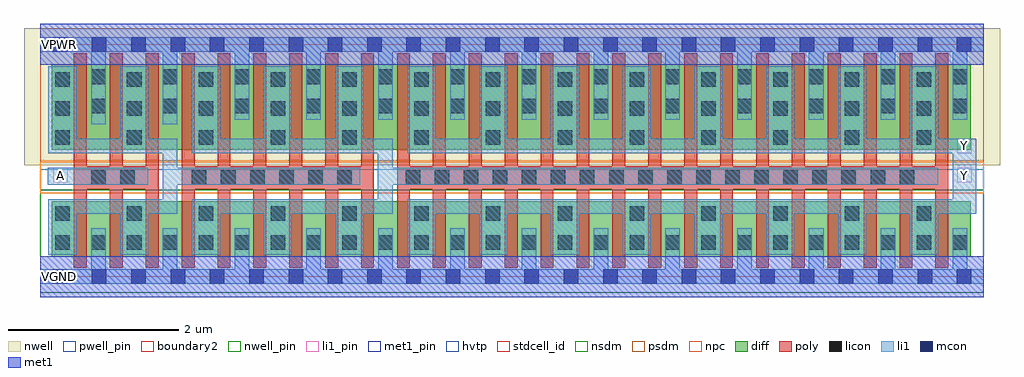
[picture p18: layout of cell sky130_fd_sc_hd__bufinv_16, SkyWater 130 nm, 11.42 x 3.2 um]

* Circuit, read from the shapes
.subckt sky130_fd_sc_hd__bufinv_16 A VGND VNB VPB VPWR Y
XM1 VGND A n1 VNB sky130_fd_pr__nfet_01v8 w=0.65 l=0.15 m=3
XM2 n2 n1 VGND VNB sky130_fd_pr__nfet_01v8 w=0.65 l=0.15 m=6
XM3 Y n2 VGND VNB sky130_fd_pr__nfet_01v8 w=0.65 l=0.15 m=16
XM4 VPWR A n1 VPB sky130_fd_pr__pfet_01v8_hvt w=1 l=0.15 m=3
XM5 n2 n1 VPWR VPB sky130_fd_pr__pfet_01v8_hvt w=1 l=0.15 m=6
XM6 Y n2 VPWR VPB sky130_fd_pr__pfet_01v8_hvt w=1 l=0.15 m=16
.ends

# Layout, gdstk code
import gdstk
lib = gdstk.Library(unit=1e-6, precision=1e-09)
def R(c, l, rs):  # rectangles x0, y0, x1, y1
    for r in rs: c.add(gdstk.rectangle(r[:2], r[2:], *l))
def A(c, l, x, y, w, h, nx, ny, dx, dy):  # array of equal rectangles
    R(c, l, [(x+i*dx, y+j*dy, x+i*dx+w, y+j*dy+h) for i in range(nx) for j in range(ny)])
def P(c, l, *ps):  # polygons
    for p in ps: c.add(gdstk.Polygon(p, *l))
nwell_pin = (64, 16)
nwell = (64, 20)
diff = (65, 20)
poly = (66, 20)
licon = (66, 44)
li1_pin = (67, 16)
li1 = (67, 20)
mcon = (67, 44)
met1_pin = (68, 16)
met1 = (68, 20)
hvtp = (78, 44)
stdcell_id = (81, 4)
nsdm = (93, 44)
psdm = (94, 20)
npc = (95, 20)
pwell_pin = (122, 16)
boundary2 = (236, 0)

sky130_fd_sc_hd__bufinv_ = lib.new_cell('sky130_fd_sc_hd__bufinv_16')
R(sky130_fd_sc_hd__bufinv_, nwell_pin, [(0.15,2.635,0.32,2.805)])
R(sky130_fd_sc_hd__bufinv_, nwell, [(-0.19,1.305,11.23,2.91)])
R(sky130_fd_sc_hd__bufinv_, diff, [(0.135,0.235,10.885,0.885), (0.135,1.485,10.885,2.485)])
P(sky130_fd_sc_hd__bufinv_, poly, [(0.395,0.105),(0.395,2.615),(0.545,2.615),(0.545,1.295),(0.815,1.295),(0.815,2.615),(0.965,2.615),(0.965,1.295),(1.235,1.295),(1.235,2.615),(1.385,2.615),(1.385,0.105),(1.235,0.105),(1.235,1.025),(0.965,1.025),(0.965,0.105),(0.815,0.105),(0.815,1.025),(0.545,1.025),(0.545,0.105)],
  [(1.655,0.105),(1.655,2.615),(1.805,2.615),(1.805,1.295),(2.075,1.295),(2.075,2.615),(2.225,2.615),(2.225,1.295),(2.495,1.295),(2.495,2.615),(2.645,2.615),(2.645,1.295),(2.915,1.295),(2.915,2.615),(3.065,2.615),(3.065,1.295),(3.335,1.295),(3.335,2.615),(3.485,2.615),(3.485,1.295),(3.755,1.295),(3.755,2.615),(3.905,2.615),(3.905,0.105),(3.755,0.105),(3.755,1.025),(3.485,1.025),(3.485,0.105),(3.335,0.105),(3.335,1.025),(3.065,1.025),(3.065,0.105),(2.915,0.105),(2.915,1.025),(2.645,1.025),(2.645,0.105),(2.495,0.105),(2.495,1.025),(2.225,1.025),(2.225,0.105),(2.075,0.105),(2.075,1.025),(1.805,1.025),(1.805,0.105)],
  [(4.175,0.105),(4.175,2.615),(4.325,2.615),(4.325,1.295),(4.595,1.295),(4.595,2.615),(4.745,2.615),(4.745,1.295),(5.015,1.295),(5.015,2.615),(5.165,2.615),(5.165,1.295),(5.435,1.295),(5.435,2.615),(5.585,2.615),(5.585,1.295),(5.855,1.295),(5.855,2.615),(6.005,2.615),(6.005,1.295),(6.275,1.295),(6.275,2.615),(6.425,2.615),(6.425,1.295),(6.695,1.295),(6.695,2.615),(6.845,2.615),(6.845,1.295),(7.115,1.295),(7.115,2.615),(7.265,2.615),(7.265,1.295),(7.535,1.295),(7.535,2.615),(7.685,2.615),(7.685,1.295),(7.955,1.295),(7.955,2.615),(8.105,2.615),(8.105,1.295),(8.375,1.295),(8.375,2.615),(8.525,2.615),(8.525,1.295),(8.795,1.295),(8.795,2.615),(8.945,2.615),(8.945,1.295),(9.215,1.295),(9.215,2.615),(9.365,2.615),(9.365,1.295),(9.635,1.295),(9.635,2.615),(9.785,2.615),(9.785,1.295),(10.055,1.295),(10.055,2.615),(10.205,2.615),(10.205,1.295),(10.475,1.295),(10.475,2.615),(10.625,2.615),(10.625,0.105),(10.475,0.105),(10.475,1.025),(10.205,1.025),(10.205,0.105),(10.055,0.105),(10.055,1.025),(9.785,1.025),(9.785,0.105),(9.635,0.105),(9.635,1.025),(9.365,1.025),(9.365,0.105),(9.215,0.105),(9.215,1.025),(8.945,1.025),(8.945,0.105),(8.795,0.105),(8.795,1.025),(8.525,1.025),(8.525,0.105),(8.375,0.105),(8.375,1.025),(8.105,1.025),(8.105,0.105),(7.955,0.105),(7.955,1.025),(7.685,1.025),(7.685,0.105),(7.535,0.105),(7.535,1.025),(7.265,1.025),(7.265,0.105),(7.115,0.105),(7.115,1.025),(6.845,1.025),(6.845,0.105),(6.695,0.105),(6.695,1.025),(6.425,1.025),(6.425,0.105),(6.275,0.105),(6.275,1.025),(6.005,1.025),(6.005,0.105),(5.855,0.105),(5.855,1.025),(5.585,1.025),(5.585,0.105),(5.435,0.105),(5.435,1.025),(5.165,1.025),(5.165,0.105),(5.015,0.105),(5.015,1.025),(4.745,1.025),(4.745,0.105),(4.595,0.105),(4.595,1.025),(4.325,1.025),(4.325,0.105)])
A(sky130_fd_sc_hd__bufinv_, licon, 0.175, 0.315, 0.17, 0.17, 26, 1, 0.42, 0)
A(sky130_fd_sc_hd__bufinv_, licon, 0.175, 0.655, 0.17, 0.17, 13, 2, 0.84, 0.89)
A(sky130_fd_sc_hd__bufinv_, licon, 1.775, 1.075, 0.17, 0.17, 6, 1, 0.34, 0)
A(sky130_fd_sc_hd__bufinv_, licon, 4.275, 1.075, 0.17, 0.17, 18, 1, 0.34, 0)
A(sky130_fd_sc_hd__bufinv_, licon, 0.175, 1.885, 0.17, 0.17, 13, 2, 0.84, 0.34)
A(sky130_fd_sc_hd__bufinv_, licon, 0.595, 1.915, 0.17, 0.17, 13, 2, 0.84, 0.34)
R(sky130_fd_sc_hd__bufinv_, licon, [(0.595,1.075,0.765,1.245), (0.935,1.075,1.105,1.245)])
R(sky130_fd_sc_hd__bufinv_, li1_pin, [(0.15,1.105,0.32,1.275), (10.73,1.105,10.9,1.275), (10.73,1.445,10.9,1.615)])
R(sky130_fd_sc_hd__bufinv_, li1, [(0.09,1.075,1.265,1.275)])
P(sky130_fd_sc_hd__bufinv_, li1, [(0,-0.085),(0,0.085),(0.595,0.085),(0.595,0.565),(0.765,0.565),(0.765,0.085),(1.435,0.085),(1.435,0.565),(1.605,0.565),(1.605,0.085),(2.275,0.085),(2.275,0.565),(2.445,0.565),(2.445,0.085),(3.115,0.085),(3.115,0.565),(3.285,0.565),(3.285,0.085),(3.955,0.085),(3.955,0.565),(4.125,0.565),(4.125,0.085),(4.795,0.085),(4.795,0.565),(4.965,0.565),(4.965,0.085),(5.635,0.085),(5.635,0.565),(5.805,0.565),(5.805,0.085),(6.475,0.085),(6.475,0.565),(6.645,0.565),(6.645,0.085),(7.315,0.085),(7.315,0.565),(7.485,0.565),(7.485,0.085),(8.155,0.085),(8.155,0.565),(8.325,0.565),(8.325,0.085),(8.995,0.085),(8.995,0.565),(9.165,0.565),(9.165,0.085),(9.835,0.085),(9.835,0.565),(10.005,0.565),(10.005,0.085),(10.675,0.085),(10.675,0.565),(10.845,0.565),(10.845,0.085),(11.04,0.085),(11.04,-0.085)],
  [(0.595,1.785),(0.595,2.635),(0,2.635),(0,2.805),(11.04,2.805),(11.04,2.635),(10.845,2.635),(10.845,1.835),(10.675,1.835),(10.675,2.635),(10.005,2.635),(10.005,1.835),(9.835,1.835),(9.835,2.635),(9.165,2.635),(9.165,1.835),(8.995,1.835),(8.995,2.635),(8.325,2.635),(8.325,1.835),(8.155,1.835),(8.155,2.635),(7.485,2.635),(7.485,1.835),(7.315,1.835),(7.315,2.635),(6.645,2.635),(6.645,1.835),(6.475,1.835),(6.475,2.635),(5.805,2.635),(5.805,1.835),(5.635,1.835),(5.635,2.635),(4.965,2.635),(4.965,1.835),(4.795,1.835),(4.795,2.635),(4.125,2.635),(4.125,1.835),(3.955,1.835),(3.955,2.635),(3.285,2.635),(3.285,1.835),(3.115,1.835),(3.115,2.635),(2.445,2.635),(2.445,1.835),(2.275,1.835),(2.275,2.635),(1.605,2.635),(1.605,1.785),(1.435,1.785),(1.435,2.635),(0.765,2.635),(0.765,1.785)],
  [(0.095,0.26),(0.095,0.905),(1.435,0.905),(1.435,1.445),(0.095,1.445),(0.095,2.465),(0.425,2.465),(0.425,1.615),(0.935,1.615),(0.935,2.465),(1.265,2.465),(1.265,1.615),(1.605,1.615),(1.605,1.275),(3.745,1.275),(3.745,1.075),(1.605,1.075),(1.605,0.735),(1.265,0.735),(1.265,0.26),(0.935,0.26),(0.935,0.735),(0.425,0.735),(0.425,0.26)],
  [(1.775,0.26),(1.775,0.905),(3.95,0.905),(3.95,1.445),(1.775,1.445),(1.775,2.465),(2.105,2.465),(2.105,1.615),(2.615,1.615),(2.615,2.465),(2.945,2.465),(2.945,1.615),(3.455,1.615),(3.455,2.465),(3.785,2.465),(3.785,1.615),(4.125,1.615),(4.125,1.275),(10.51,1.275),(10.51,1.075),(4.125,1.075),(4.125,0.735),(3.785,0.735),(3.785,0.26),(3.455,0.26),(3.455,0.735),(2.945,0.735),(2.945,0.26),(2.615,0.26),(2.615,0.735),(2.105,0.735),(2.105,0.26)],
  [(4.295,0.255),(4.295,0.905),(10.68,0.905),(10.68,1.445),(4.295,1.445),(4.295,2.465),(4.625,2.465),(4.625,1.615),(5.135,1.615),(5.135,2.465),(5.465,2.465),(5.465,1.615),(5.975,1.615),(5.975,2.465),(6.305,2.465),(6.305,1.615),(6.815,1.615),(6.815,2.465),(7.145,2.465),(7.145,1.615),(7.655,1.615),(7.655,2.465),(7.985,2.465),(7.985,1.615),(8.495,1.615),(8.495,2.465),(8.825,2.465),(8.825,1.615),(9.335,1.615),(9.335,2.465),(9.665,2.465),(9.665,1.615),(10.175,1.615),(10.175,2.465),(10.505,2.465),(10.505,1.615),(10.955,1.615),(10.955,0.735),(10.505,0.735),(10.505,0.26),(10.175,0.26),(10.175,0.735),(9.665,0.735),(9.665,0.26),(9.335,0.26),(9.335,0.735),(8.825,0.735),(8.825,0.26),(8.495,0.26),(8.495,0.735),(7.985,0.735),(7.985,0.26),(7.655,0.26),(7.655,0.735),(7.145,0.735),(7.145,0.26),(6.815,0.26),(6.815,0.735),(6.305,0.735),(6.305,0.26),(6.225,0.26),(6.225,0.255),(6.055,0.255),(6.055,0.26),(5.975,0.26),(5.975,0.735),(5.465,0.735),(5.465,0.26),(5.385,0.26),(5.385,0.255),(5.215,0.255),(5.215,0.26),(5.135,0.26),(5.135,0.735),(4.625,0.735),(4.625,0.26),(4.545,0.26),(4.545,0.255)])
A(sky130_fd_sc_hd__bufinv_, mcon, 0.145, -0.085, 0.17, 0.17, 24, 2, 0.46, 2.72)
R(sky130_fd_sc_hd__bufinv_, met1_pin, [(0.15,-0.085,0.32,0.085), (0.15,2.635,0.32,2.805)])
R(sky130_fd_sc_hd__bufinv_, hvtp, [(0,1.25,11.04,2.72)])
R(sky130_fd_sc_hd__bufinv_, stdcell_id, [(0,0,11.04,2.72)])
R(sky130_fd_sc_hd__bufinv_, nsdm, [(0,-0.19,11.04,1.015)])
R(sky130_fd_sc_hd__bufinv_, psdm, [(0,1.355,11.04,2.91)])
R(sky130_fd_sc_hd__bufinv_, npc, [(0,0.975,11.04,1.345)])
R(sky130_fd_sc_hd__bufinv_, pwell_pin, [(0.15,-0.085,0.32,0.085)])
R(sky130_fd_sc_hd__bufinv_, boundary2, [(0,0,11.04,2.72)])
sky130_fd_sc_hd__bufinv_.add(gdstk.FlexPath([(0,2.72),(11.04,2.72)], 0.48, ends="flush", simple_path=True, layer=68, datatype=20))  # met1
sky130_fd_sc_hd__bufinv_.add(gdstk.FlexPath([(0,0),(11.04,0)], 0.48, ends="flush", simple_path=True, layer=68, datatype=20))  # met1
sky130_fd_sc_hd__bufinv_.add(gdstk.Label('A', (0.235,1.19), layer=67, texttype=5))
sky130_fd_sc_hd__bufinv_.add(gdstk.Label('Y', (10.815,1.19), layer=67, texttype=5))
sky130_fd_sc_hd__bufinv_.add(gdstk.Label('Y', (10.815,1.53), layer=67, texttype=5))
sky130_fd_sc_hd__bufinv_.add(gdstk.Label('VGND', (0.23,0), layer=68, texttype=5))
sky130_fd_sc_hd__bufinv_.add(gdstk.Label('VPWR', (0.23,2.72), layer=68, texttype=5))
sky130_fd_sc_hd__bufinv_.add(gdstk.Label('VPB', (0.235,2.72), layer=64, texttype=5))
sky130_fd_sc_hd__bufinv_.add(gdstk.Label('VNB', (0.235,0), layer=64, texttype=59))
sky130_fd_sc_hd__bufinv_.add(gdstk.Label('bufinv_16', (0,0), layer=83, texttype=44))

lib.write_gds('sky130_fd_sc_hd__bufinv_16.gds')
